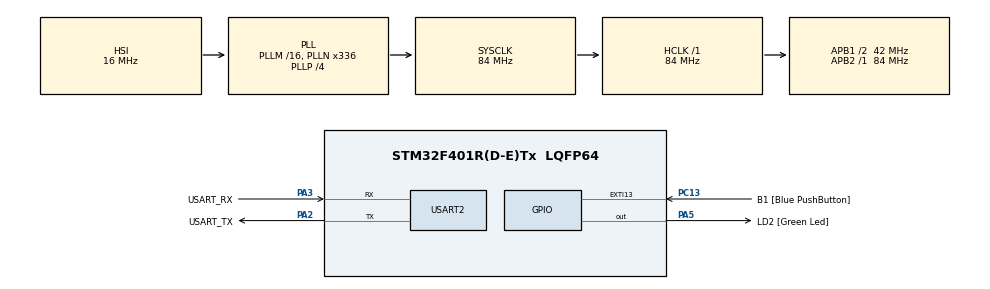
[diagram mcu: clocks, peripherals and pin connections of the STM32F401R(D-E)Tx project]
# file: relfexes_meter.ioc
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Mcu.Family=STM32F4
Mcu.Name=STM32F401R(D-E)Tx
Mcu.Package=LQFP64
NVIC.PriorityGroup=NVIC_PRIORITYGROUP_0
NVIC.USART2_IRQn=true\:0\:0\:false\:false\:true\:true
PA13.GPIO_Label=TMS
PA13.Mode=Serial_Wire
PA13.Signal=SYS_JTMS-SWDIO
PA14.GPIO_Label=TCK
PA14.Mode=Serial_Wire
PA14.Signal=SYS_JTCK-SWCLK
PA2.GPIO_Label=USART_TX
PA2.GPIO_Mode=GPIO_MODE_AF_PP
PA2.GPIO_PuPd=GPIO_NOPULL
PA2.GPIO_Speed=GPIO_SPEED_FREQ_LOW
PA2.Mode=Asynchronous
PA2.Signal=USART2_TX
PA3.GPIO_Label=USART_RX
PA3.GPIO_Mode=GPIO_MODE_AF_PP
PA3.GPIO_PuPd=GPIO_NOPULL
PA3.GPIO_Speed=GPIO_SPEED_FREQ_LOW
PA3.Mode=Asynchronous
PA3.Signal=USART2_RX
PA5.GPIO_Label=LD2 [Green Led]
PA5.GPIO_Mode=GPIO_MODE_OUTPUT_PP
PA5.GPIO_PuPd=GPIO_NOPULL
PA5.GPIO_Speed=GPIO_SPEED_FREQ_LOW
PA5.Signal=GPIO_Output
PB3.GPIO_Label=SWO
PB3.Signal=SYS_JTDO-SWO
PC13-ANTI_TAMP.GPIO_Label=B1 [Blue PushButton]
PC13-ANTI_TAMP.GPIO_ModeDefaultEXTI=GPIO_MODE_IT_FALLING
PC13-ANTI_TAMP.GPIO_PuPd=GPIO_NOPULL
PC13-ANTI_TAMP.Signal=GPXTI13
PC14-OSC32_IN.Mode=LSE-External-Oscillator
PC14-OSC32_IN.Signal=RCC_OSC32_IN
PC15-OSC32_OUT.Mode=LSE-External-Oscillator
PC15-OSC32_OUT.Signal=RCC_OSC32_OUT
PH0\ -\ OSC_IN.Mode=HSE-External-Clock-Source
PH0\ -\ OSC_IN.Signal=RCC_OSC_IN
PH1\ -\ OSC_OUT.Mode=HSE-External-Clock-Source
PH1\ -\ OSC_OUT.Signal=RCC_OSC_OUT
ProjectManager.HeapSize=0x200
ProjectManager.StackSize=0x400
ProjectManager.TargetToolchain=SW4STM32
RCC.48MHZClocksFreq_Value=48000000
RCC.AHBFreq_Value=84000000
RCC.APB1CLKDivider=RCC_HCLK_DIV2
RCC.APB1Freq_Value=42000000
RCC.APB1TimFreq_Value=84000000
RCC.APB2Freq_Value=84000000
RCC.APB2TimFreq_Value=84000000
RCC.CortexFreq_Value=84000000
RCC.HCLKFreq_Value=84000000
RCC.HSE_VALUE=8000000
RCC.HSI_VALUE=16000000
RCC.PLLN=336
RCC.PLLP=RCC_PLLP_DIV4
RCC.PLLQ=7
RCC.SYSCLKFreq_VALUE=84000000
RCC.SYSCLKSource=RCC_SYSCLKSOURCE_PLLCLK
RCC.VCOOutputFreq_Value=336000000
USART2.VirtualMode=VM_ASYNC
board=NUCLEO-F401RE

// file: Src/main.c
/* USER CODE BEGIN Header */
/**
  ******************************************************************************
  * @file           : main.c
  * @brief          : Main program body
  ******************************************************************************
  ** This notice applies to any and all portions of this file
  * that are not between comment pairs USER CODE BEGIN and
  * USER CODE END. Other portions of this file, whether
  * inserted by the user or by software development tools
  * are owned by their respective copyright owners.
  *
  * COPYRIGHT(c) 2018 STMicroelectronics
  *
  * Redistribution and use in source and binary forms, with or without modification,
  * are permitted provided that the following conditions are met:
  *   1. Redistributions of source code must retain the above copyright notice,
  *      this list of conditions and the following disclaimer.
  *   2. Redistributions in binary form must reproduce the above copyright notice,
  *      this list of conditions and the following disclaimer in the documentation
  *      and/or other materials provided with the distribution.
  *   3. Neither the name of STMicroelectronics nor the names of its contributors
  *      may be used to endorse or promote products derived from this software
  *      without specific prior written permission.
  *
  * THIS SOFTWARE IS PROVIDED BY THE COPYRIGHT HOLDERS AND CONTRIBUTORS "AS IS"
  * AND ANY EXPRESS OR IMPLIED WARRANTIES, INCLUDING, BUT NOT LIMITED TO, THE
  * IMPLIED WARRANTIES OF MERCHANTABILITY AND FITNESS FOR A PARTICULAR PURPOSE ARE
  * DISCLAIMED. IN NO EVENT SHALL THE COPYRIGHT HOLDER OR CONTRIBUTORS BE LIABLE
  * FOR ANY DIRECT, INDIRECT, INCIDENTAL, SPECIAL, EXEMPLARY, OR CONSEQUENTIAL
  * DAMAGES (INCLUDING, BUT NOT LIMITED TO, PROCUREMENT OF SUBSTITUTE GOODS OR
  * SERVICES; LOSS OF USE, DATA, OR PROFITS; OR BUSINESS INTERRUPTION) HOWEVER
  * CAUSED AND ON ANY THEORY OF LIABILITY, WHETHER IN CONTRACT, STRICT LIABILITY,
  * OR TORT (INCLUDING NEGLIGENCE OR OTHERWISE) ARISING IN ANY WAY OUT OF THE USE
  * OF THIS SOFTWARE, EVEN IF ADVISED OF THE POSSIBILITY OF SUCH DAMAGE.
  *
  ******************************************************************************
  */
/* USER CODE END Header */

#include "main.h"

UART_HandleTypeDef huart2;

void SystemClock_Config(void);
static void MX_GPIO_Init(void);
static void MX_USART2_UART_Init(void);
/* USER CODE BEGIN PFP */
static void userUART_init(void);
static void HAL_UART_Transmit_IT_wrapper(UserUART_TypeDef *userUART_ptr);
static void HAL_UART_Receive_IT_wrapper(UserUART_TypeDef *userUART_ptr);
/* USER CODE END PFP */

/* USER CODE BEGIN 0 */
// needed to enable semihosting facility
extern void initialise_monitor_handles(void);
UserUART_TypeDef userUart;
UserUART_TypeDef *userUart_ptr = &userUart;
/* USER CODE END 0 */

int main(void)
{
  /* USER CODE BEGIN 1 */
  // define my UART with parameters and buffer
  /* USER CODE END 1 */

  /* MCU Configuration--------------------------------------------------------*/

  /* Reset of all peripherals, Initializes the Flash interface and the Systick. */
  HAL_Init();

  /* Configure the system clock */
  SystemClock_Config();

  /* Initialize all configured peripherals */
  MX_GPIO_Init();
  MX_USART2_UART_Init();
  /* USER CODE BEGIN 2 */
  userUART_init();
  userUart_ptr->txBuffer[0] = 0; // debug
  userUart_ptr->txBuffer[1] = 1; // debug
  userUart_ptr->txBuffer[2] = 2; // debug
  userUart_ptr->txBuffer[3] = 3; // debug
  userUart_ptr->txBuffer[4] = 4; // debug
  HAL_UART_Transmit_IT_wrapper(userUart_ptr);
  HAL_UART_Receive_IT_wrapper(userUart_ptr);
  /* USER CODE END 2 */

  /* Infinite loop */
  /* USER CODE BEGIN WHILE */
  // needed to enable semihosting facility
  initialise_monitor_handles();
  while (1)
  {
    /* USER CODE END WHILE */

  }
}

void SystemClock_Config(void)
{
  RCC_OscInitTypeDef RCC_OscInitStruct = {0};
  RCC_ClkInitTypeDef RCC_ClkInitStruct = {0};

  /**Configure the main internal regulator output voltage
  */
  __HAL_RCC_PWR_CLK_ENABLE();
  __HAL_PWR_VOLTAGESCALING_CONFIG(PWR_REGULATOR_VOLTAGE_SCALE2);
  /**Initializes the CPU, AHB and APB busses clocks
  */
  RCC_OscInitStruct.OscillatorType = RCC_OSCILLATORTYPE_HSI;
  RCC_OscInitStruct.HSIState = RCC_HSI_ON;
  RCC_OscInitStruct.HSICalibrationValue = RCC_HSICALIBRATION_DEFAULT;
  RCC_OscInitStruct.PLL.PLLState = RCC_PLL_ON;
  RCC_OscInitStruct.PLL.PLLSource = RCC_PLLSOURCE_HSI;
  RCC_OscInitStruct.PLL.PLLM = 16;
  RCC_OscInitStruct.PLL.PLLN = 336;
  RCC_OscInitStruct.PLL.PLLP = RCC_PLLP_DIV4;
  RCC_OscInitStruct.PLL.PLLQ = 7;
  if (HAL_RCC_OscConfig(&RCC_OscInitStruct) != HAL_OK)
  {
    Error_Handler();
  }
  /**Initializes the CPU, AHB and APB busses clocks
  */
  RCC_ClkInitStruct.ClockType = RCC_CLOCKTYPE_HCLK|RCC_CLOCKTYPE_SYSCLK
                              |RCC_CLOCKTYPE_PCLK1|RCC_CLOCKTYPE_PCLK2;
  RCC_ClkInitStruct.SYSCLKSource = RCC_SYSCLKSOURCE_PLLCLK;
  RCC_ClkInitStruct.AHBCLKDivider = RCC_SYSCLK_DIV1;
  RCC_ClkInitStruct.APB1CLKDivider = RCC_HCLK_DIV2;
  RCC_ClkInitStruct.APB2CLKDivider = RCC_HCLK_DIV1;

  if (HAL_RCC_ClockConfig(&RCC_ClkInitStruct, FLASH_LATENCY_2) != HAL_OK)
  {
    Error_Handler();
  }
}

static void MX_USART2_UART_Init(void)
{

  huart2.Instance = USART2;
  huart2.Init.BaudRate = 115200;
  huart2.Init.WordLength = UART_WORDLENGTH_8B;
  huart2.Init.StopBits = UART_STOPBITS_1;
  huart2.Init.Parity = UART_PARITY_NONE;
  huart2.Init.Mode = UART_MODE_TX_RX;
  huart2.Init.HwFlowCtl = UART_HWCONTROL_NONE;
  huart2.Init.OverSampling = UART_OVERSAMPLING_16;
  if (HAL_UART_Init(&huart2) != HAL_OK)
  {
    Error_Handler();
  }

}

static void MX_GPIO_Init(void)
{
  GPIO_InitTypeDef GPIO_InitStruct = {0};

  /* GPIO Ports Clock Enable */
  __HAL_RCC_GPIOC_CLK_ENABLE();
  __HAL_RCC_GPIOH_CLK_ENABLE();
  __HAL_RCC_GPIOA_CLK_ENABLE();
  __HAL_RCC_GPIOB_CLK_ENABLE();

  /*Configure GPIO pin Output Level */
  HAL_GPIO_WritePin(LD2_GPIO_Port, LD2_Pin, GPIO_PIN_RESET);

  /*Configure GPIO pin : B1_Pin */
  GPIO_InitStruct.Pin = B1_Pin;
  GPIO_InitStruct.Mode = GPIO_MODE_IT_FALLING;
  GPIO_InitStruct.Pull = GPIO_NOPULL;
  HAL_GPIO_Init(B1_GPIO_Port, &GPIO_InitStruct);

  /*Configure GPIO pin : LD2_Pin */
  GPIO_InitStruct.Pin = LD2_Pin;
  GPIO_InitStruct.Mode = GPIO_MODE_OUTPUT_PP;
  GPIO_InitStruct.Pull = GPIO_NOPULL;
  GPIO_InitStruct.Speed = GPIO_SPEED_FREQ_LOW;
  HAL_GPIO_Init(LD2_GPIO_Port, &GPIO_InitStruct);

}

/* USER CODE BEGIN 4 */
void userUART_init(void) {
	userUart.properties.tx_size = UART_TX_SIZE;
	userUart.properties.rx_size = UART_RX_SIZE;
	userUart.properties.timeout = UART_MAX_TIMEOUT;
}

static void HAL_UART_Transmit_IT_wrapper(UserUART_TypeDef *userUART_ptr) {
	if (HAL_UART_Transmit_IT(&huart2, userUART_ptr->txBuffer, userUART_ptr->properties.tx_size) != HAL_OK) {
		Error_Handler();
	}
}

static void HAL_UART_Receive_IT_wrapper(UserUART_TypeDef *userUART_ptr) {
	if (HAL_UART_Receive_IT(&huart2, userUART_ptr->rxBuffer, userUART_ptr->properties.rx_size) != HAL_OK) {
		Error_Handler();
	}
}

void HAL_UART_TxCpltCallback(UART_HandleTypeDef *huart){
	__NOP();
}

void HAL_UART_RxCpltCallback(UART_HandleTypeDef *huart){
	__NOP();
}
/* USER CODE END 4 */

void Error_Handler(void)
{
}

/************************ (C) COPYRIGHT STMicroelectronics *****END OF FILE****/
